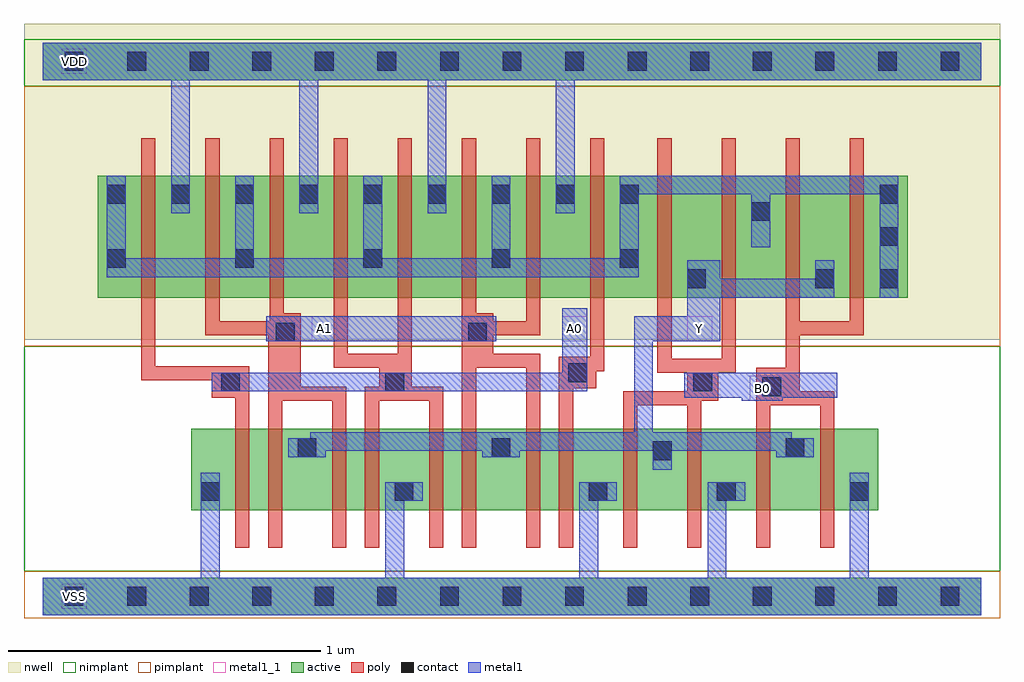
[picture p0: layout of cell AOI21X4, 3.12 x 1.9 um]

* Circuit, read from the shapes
.subckt AOI21X4 A0 A1 B0 VDD VSS Y
M1 n1 A0 VSS VSS nfet w=0.26u l=0.045u
M2 Y A1 n1 VSS nfet w=0.26u l=0.045u
M3 n2 A1 Y VSS nfet w=0.26u l=0.045u
M4 VSS A0 n2 VSS nfet w=0.26u l=0.045u
M5 n3 A0 VSS VSS nfet w=0.26u l=0.045u
M6 Y A1 n3 VSS nfet w=0.26u l=0.045u
M7 n4 A1 Y VSS nfet w=0.26u l=0.045u
M8 VSS A0 n4 VSS nfet w=0.26u l=0.045u
M9 Y B0 VSS VSS nfet w=0.26u l=0.045u m=4
M10 VDD A0 n5 VDD pfet w=0.39u l=0.045u m=4
M11 n5 A1 VDD VDD pfet w=0.39u l=0.045u m=4
M12 Y B0 n5 VDD pfet w=0.39u l=0.045u m=4
.ends

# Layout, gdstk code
import gdstk
lib = gdstk.Library(unit=1e-6, precision=5e-10)
def R(c, l, rs):  # rectangles x0, y0, x1, y1
    for r in rs: c.add(gdstk.rectangle(r[:2], r[2:], *l))
def A(c, l, x, y, w, h, nx, ny, dx, dy):  # array of equal rectangles
    R(c, l, [(x+i*dx, y+j*dy, x+i*dx+w, y+j*dy+h) for i in range(nx) for j in range(ny)])
def P(c, l, *ps):  # polygons
    for p in ps: c.add(gdstk.Polygon(p, *l))
active = (1, 0)
nwell = (2, 0)
poly = (3, 0)
nimplant = (4, 0)
pimplant = (5, 0)
contact = (6, 0)
metal1 = (7, 0)
metal1_1 = (7, 1)

aoi21x4 = lib.new_cell('AOI21X4')
R(aoi21x4, active, [(0,-0.06,3,0.06), (0.475,0.275,2.67,0.535), (0.175,0.955,2.765,1.345), (0,1.65,3,1.77)])
R(aoi21x4, nwell, [(-0.06,0.82,3.06,1.83)])
P(aoi21x4, poly, [(0.315,1.465),(0.36,1.465),(0.36,0.735),(0.66,0.735),(0.66,0.155),(0.615,0.155),(0.615,0.635),(0.54,0.635),(0.54,0.69),(0.315,0.69)],
  [(0.52,1.465),(0.565,1.465),(0.565,0.88),(0.725,0.88),(0.725,1.465),(0.77,1.465),(0.77,0.905),(0.825,0.905),(0.825,0.67),(0.97,0.67),(0.97,0.155),(0.925,0.155),(0.925,0.625),(0.765,0.625),(0.765,0.155),(0.72,0.155),(0.72,0.835),(0.52,0.835)],
  [(0.93,1.465),(0.975,1.465),(0.975,0.775),(1.135,0.775),(1.135,1.465),(1.18,1.465),(1.18,0.67),(1.28,0.67),(1.28,0.155),(1.235,0.155),(1.235,0.625),(1.075,0.625),(1.075,0.155),(1.03,0.155),(1.03,0.67),(1.075,0.67),(1.075,0.73),(0.93,0.73)],
  [(1.34,1.465),(1.385,1.465),(1.385,0.905),(1.44,0.905),(1.44,0.88),(1.545,0.88),(1.545,1.465),(1.59,1.465),(1.59,0.835),(1.44,0.835),(1.44,0.775),(1.59,0.775),(1.59,0.155),(1.545,0.155),(1.545,0.73),(1.385,0.73),(1.385,0.155),(1.34,0.155)],
  [(1.75,1.465),(1.795,1.465),(1.795,0.72),(1.77,0.72),(1.77,0.665),(1.695,0.665),(1.695,0.155),(1.65,0.155),(1.65,0.765),(1.75,0.765)],
  [(1.965,1.465),(2.01,1.465),(2.01,0.76),(2.17,0.76),(2.17,1.465),(2.215,1.465),(2.215,0.715),(2.16,0.715),(2.16,0.625),(2.105,0.625),(2.105,0.155),(2.06,0.155),(2.06,0.61),(1.9,0.61),(1.9,0.155),(1.855,0.155),(1.855,0.655),(2.06,0.655),(2.06,0.715),(1.965,0.715)],
  [(2.375,1.465),(2.42,1.465),(2.42,0.88),(2.58,0.88),(2.58,1.465),(2.625,1.465),(2.625,0.835),(2.42,0.835),(2.42,0.655),(2.53,0.655),(2.53,0.155),(2.485,0.155),(2.485,0.61),(2.325,0.61),(2.325,0.155),(2.28,0.155),(2.28,0.73),(2.375,0.73)])
R(aoi21x4, nimplant, [(-0.06,0.08,3.06,0.8), (-0.06,1.63,3.06,1.78)])
R(aoi21x4, pimplant, [(-0.06,-0.07,3.06,0.08), (-0.06,0.8,3.06,1.63)])
A(aoi21x4, contact, 0.07, -0.03, 0.06, 0.06, 15, 2, 0.2, 1.71)
A(aoi21x4, contact, 0.505, 0.305, 0.06, 0.06, 3, 1, 0.62, 0)
A(aoi21x4, contact, 2.675, 0.985, 0.06, 0.06, 1, 3, 0, 0.135)
A(aoi21x4, contact, 0.205, 1.05, 0.06, 0.06, 5, 1, 0.41, 0)
A(aoi21x4, contact, 0.205, 1.255, 0.06, 0.06, 9, 1, 0.205, 0)
R(aoi21x4, contact, [(2.155,0.305,2.215,0.365), (2.58,0.305,2.64,0.365), (1.95,0.435,2.01,0.495), (0.815,0.445,0.875,0.505), (1.435,0.445,1.495,0.505), (2.375,0.445,2.435,0.505), (2.3,0.64,2.36,0.7), (0.57,0.655,0.63,0.715), (1.095,0.655,1.155,0.715), (2.08,0.655,2.14,0.715), (1.68,0.685,1.74,0.745), (0.745,0.815,0.805,0.875), (1.36,0.815,1.42,0.875), (2.06,0.985,2.12,1.045), (2.47,0.985,2.53,1.045), (2.265,1.2,2.325,1.26)])
R(aoi21x4, metal1, [(0.715,0.815,1.45,0.895)])
P(aoi21x4, metal1, [(0,1.77),(3,1.77),(3,1.65),(1.7,1.65),(1.7,1.225),(1.64,1.225),(1.64,1.65),(1.29,1.65),(1.29,1.225),(1.23,1.225),(1.23,1.65),(0.88,1.65),(0.88,1.225),(0.82,1.225),(0.82,1.65),(0.47,1.65),(0.47,1.225),(0.41,1.225),(0.41,1.65),(0,1.65)],
  [(0.205,1.345),(0.265,1.345),(0.265,1.08),(0.615,1.08),(0.615,1.345),(0.675,1.345),(0.675,1.08),(1.025,1.08),(1.025,1.345),(1.085,1.345),(1.085,1.08),(1.435,1.08),(1.435,1.345),(1.495,1.345),(1.495,1.08),(1.845,1.08),(1.845,1.345),(2.735,1.345),(2.735,0.955),(2.675,0.955),(2.675,1.285),(2.325,1.285),(2.325,1.115),(2.265,1.115),(2.265,1.285),(1.905,1.285),(1.905,1.02),(0.205,1.02)],
  [(2.06,1.075),(2.165,1.075),(2.165,1.015),(2.47,1.015),(2.47,1.075),(2.53,1.075),(2.53,0.955),(2.165,0.955),(2.165,0.815),(1.95,0.815),(1.95,0.525),(2.395,0.525),(2.395,0.505),(2.465,0.505),(2.465,0.445),(2.345,0.445),(2.345,0.465),(2.01,0.465),(2.01,0.405),(1.95,0.405),(1.95,0.465),(1.525,0.465),(1.525,0.445),(1.405,0.445),(1.405,0.465),(0.905,0.465),(0.905,0.445),(0.785,0.445),(0.785,0.505),(0.855,0.505),(0.855,0.525),(1.89,0.525),(1.89,0.895),(2.06,0.895)],
  [(1.66,0.92),(1.74,0.92),(1.74,0.655),(0.54,0.655),(0.54,0.715),(1.66,0.715)],
  [(2.05,0.715),(2.54,0.715),(2.54,0.635),(2.365,0.635),(2.365,0.625),(2.235,0.625),(2.235,0.635),(2.05,0.635)],
  [(0.505,0.395),(0.565,0.395),(0.565,0.06),(1.095,0.06),(1.095,0.365),(1.215,0.365),(1.215,0.305),(1.155,0.305),(1.155,0.06),(1.715,0.06),(1.715,0.365),(1.835,0.365),(1.835,0.305),(1.775,0.305),(1.775,0.06),(2.125,0.06),(2.125,0.365),(2.245,0.365),(2.245,0.305),(2.185,0.305),(2.185,0.06),(2.58,0.06),(2.58,0.395),(2.64,0.395),(2.64,0.06),(3,0.06),(3,-0.06),(0,-0.06),(0,0.06),(0.505,0.06)])
R(aoi21x4, metal1_1, [(0.06,-0.04,0.14,0.04), (2.26,0.625,2.34,0.705), (0.86,0.815,0.94,0.895), (1.66,0.815,1.74,0.895), (2.06,0.815,2.14,0.895), (0.06,1.67,0.14,1.75)])
aoi21x4.add(gdstk.Label('Y', (2.1,0.855), layer=7, texttype=1))
aoi21x4.add(gdstk.Label('A1', (0.9,0.855), layer=7, texttype=1))
aoi21x4.add(gdstk.Label('A0', (1.7,0.855), layer=7, texttype=1))
aoi21x4.add(gdstk.Label('B0', (2.3,0.665), layer=7, texttype=1))
aoi21x4.add(gdstk.Label('VDD', (0.1,1.71), layer=7, texttype=1))
aoi21x4.add(gdstk.Label('VSS', (0.1,0), layer=7, texttype=1))
aoi21x4.add(gdstk.Label('AOI21X4', (0,0), layer=63, texttype=0))

lib.write_gds('AOI21X4.gds')
